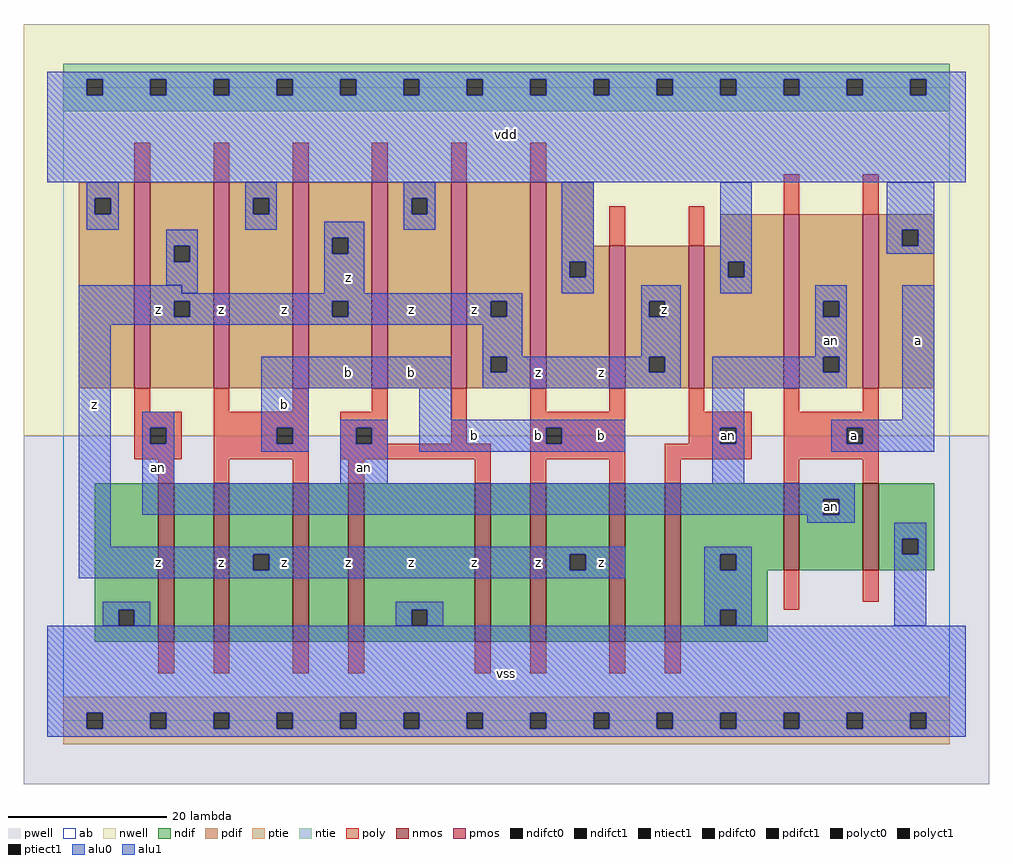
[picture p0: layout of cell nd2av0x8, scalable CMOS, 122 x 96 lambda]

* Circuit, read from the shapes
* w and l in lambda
.subckt nd2av0x8 a an b vdd vss z
M1 n1 an vss vss nfet w=20 l=2
M2 z b n1 vss nfet w=20 l=2
M3 n2 b z vss nfet w=20 l=2
M4 vss an n2 vss nfet w=20 l=2
M5 n3 an vss vss nfet w=20 l=2
M6 z b n3 vss nfet w=20 l=2
M7 n4 b z vss nfet w=20 l=2
M8 vss an n4 vss nfet w=20 l=2
M9 an a vss vss nfet w=11 l=2 m=2
M10 z an vdd vdd pfet w=26 l=2 m=3
M11 vdd b z vdd pfet w=26 l=2 m=3
M12 z b vdd vdd pfet w=18 l=2
M13 vdd an z vdd pfet w=18 l=2
M14 an a vdd vdd pfet w=22 l=2 m=2
.ends

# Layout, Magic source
magic
tech scmos
<< ab >>
rect 0 0 112 80
<< nwell >>
rect -5 36 117 88
<< pwell >>
rect -5 -8 117 36
<< poly >>
rect 9 68 11 73
rect 19 68 21 73
rect 29 68 31 73
rect 39 68 41 73
rect 49 68 51 73
rect 59 68 61 73
rect 69 60 71 65
rect 79 60 81 65
rect 91 64 93 69
rect 101 64 103 69
rect 9 39 11 42
rect 19 39 21 42
rect 29 39 31 42
rect 39 39 41 42
rect 9 37 15 39
rect 9 35 11 37
rect 13 35 15 37
rect 9 33 15 35
rect 19 37 31 39
rect 19 35 27 37
rect 29 35 31 37
rect 19 33 31 35
rect 35 37 41 39
rect 35 35 37 37
rect 39 35 41 37
rect 49 35 51 42
rect 59 39 61 42
rect 69 39 71 42
rect 59 37 71 39
rect 59 35 61 37
rect 63 35 71 37
rect 79 39 81 42
rect 91 39 93 42
rect 101 39 103 42
rect 79 37 87 39
rect 79 35 83 37
rect 85 35 87 37
rect 35 33 54 35
rect 12 30 14 33
rect 19 30 21 33
rect 29 30 31 33
rect 36 30 38 33
rect 52 30 54 33
rect 59 33 71 35
rect 59 30 61 33
rect 69 30 71 33
rect 76 33 87 35
rect 91 37 103 39
rect 91 35 99 37
rect 101 35 103 37
rect 91 33 103 35
rect 76 30 78 33
rect 91 30 93 33
rect 101 30 103 33
rect 91 14 93 19
rect 101 15 103 19
rect 12 6 14 10
rect 19 6 21 10
rect 29 6 31 10
rect 36 6 38 10
rect 52 6 54 10
rect 59 6 61 10
rect 69 6 71 10
rect 76 6 78 10
<< ndif >>
rect 4 14 12 30
rect 4 12 7 14
rect 9 12 12 14
rect 4 10 12 12
rect 14 10 19 30
rect 21 21 29 30
rect 21 19 24 21
rect 26 19 29 21
rect 21 10 29 19
rect 31 10 36 30
rect 38 14 52 30
rect 38 12 44 14
rect 46 12 52 14
rect 38 10 52 12
rect 54 10 59 30
rect 61 21 69 30
rect 61 19 64 21
rect 66 19 69 21
rect 61 10 69 19
rect 71 10 76 30
rect 78 21 91 30
rect 78 19 83 21
rect 85 19 91 21
rect 93 28 101 30
rect 93 26 96 28
rect 98 26 101 28
rect 93 19 101 26
rect 103 23 110 30
rect 103 21 106 23
rect 108 21 110 23
rect 103 19 110 21
rect 78 14 89 19
rect 78 12 83 14
rect 85 12 89 14
rect 78 10 89 12
<< pdif >>
rect 2 66 9 68
rect 2 64 4 66
rect 6 64 9 66
rect 2 42 9 64
rect 11 60 19 68
rect 11 58 14 60
rect 16 58 19 60
rect 11 53 19 58
rect 11 51 14 53
rect 16 51 19 53
rect 11 42 19 51
rect 21 66 29 68
rect 21 64 24 66
rect 26 64 29 66
rect 21 42 29 64
rect 31 61 39 68
rect 31 59 34 61
rect 36 59 39 61
rect 31 53 39 59
rect 31 51 34 53
rect 36 51 39 53
rect 31 42 39 51
rect 41 66 49 68
rect 41 64 44 66
rect 46 64 49 66
rect 41 42 49 64
rect 51 53 59 68
rect 51 51 54 53
rect 56 51 59 53
rect 51 46 59 51
rect 51 44 54 46
rect 56 44 59 46
rect 51 42 59 44
rect 61 60 67 68
rect 83 60 91 64
rect 61 58 69 60
rect 61 56 64 58
rect 66 56 69 58
rect 61 42 69 56
rect 71 53 79 60
rect 71 51 74 53
rect 76 51 79 53
rect 71 46 79 51
rect 71 44 74 46
rect 76 44 79 46
rect 71 42 79 44
rect 81 58 91 60
rect 81 56 84 58
rect 86 56 91 58
rect 81 42 91 56
rect 93 53 101 64
rect 93 51 96 53
rect 98 51 101 53
rect 93 46 101 51
rect 93 44 96 46
rect 98 44 101 46
rect 93 42 101 44
rect 103 62 110 64
rect 103 60 106 62
rect 108 60 110 62
rect 103 42 110 60
<< alu1 >>
rect -2 81 114 82
rect -2 79 3 81
rect 5 79 11 81
rect 13 79 19 81
rect 21 79 27 81
rect 29 79 35 81
rect 37 79 43 81
rect 45 79 51 81
rect 53 79 59 81
rect 61 79 67 81
rect 69 79 75 81
rect 77 79 83 81
rect 85 79 91 81
rect 93 79 99 81
rect 101 79 107 81
rect 109 79 114 81
rect -2 68 114 79
rect 2 54 15 55
rect 33 61 38 63
rect 33 59 34 61
rect 36 59 38 61
rect 33 54 38 59
rect 2 53 58 54
rect 2 51 14 53
rect 16 51 34 53
rect 36 51 54 53
rect 56 51 58 53
rect 2 50 58 51
rect 2 22 6 50
rect 53 46 58 50
rect 73 53 78 55
rect 73 51 74 53
rect 76 51 78 53
rect 73 46 78 51
rect 25 42 49 46
rect 53 44 54 46
rect 56 44 74 46
rect 76 44 78 46
rect 53 42 78 44
rect 25 37 31 42
rect 45 38 49 42
rect 25 35 27 37
rect 29 35 31 37
rect 25 34 31 35
rect 45 37 71 38
rect 45 35 61 37
rect 63 35 71 37
rect 45 34 71 35
rect 106 38 110 55
rect 97 37 110 38
rect 97 35 99 37
rect 101 35 110 37
rect 97 34 110 35
rect 2 21 71 22
rect 2 19 24 21
rect 26 19 64 21
rect 66 19 71 21
rect 2 18 71 19
rect -2 1 114 12
rect -2 -1 3 1
rect 5 -1 11 1
rect 13 -1 19 1
rect 21 -1 27 1
rect 29 -1 35 1
rect 37 -1 43 1
rect 45 -1 51 1
rect 53 -1 59 1
rect 61 -1 67 1
rect 69 -1 75 1
rect 77 -1 83 1
rect 85 -1 91 1
rect 93 -1 99 1
rect 101 -1 107 1
rect 109 -1 114 1
rect -2 -2 114 -1
<< ptie >>
rect 0 1 112 3
rect 0 -1 3 1
rect 5 -1 11 1
rect 13 -1 19 1
rect 21 -1 27 1
rect 29 -1 35 1
rect 37 -1 43 1
rect 45 -1 51 1
rect 53 -1 59 1
rect 61 -1 67 1
rect 69 -1 75 1
rect 77 -1 83 1
rect 85 -1 91 1
rect 93 -1 99 1
rect 101 -1 107 1
rect 109 -1 112 1
rect 0 -3 112 -1
<< ntie >>
rect 0 81 112 83
rect 0 79 3 81
rect 5 79 11 81
rect 13 79 19 81
rect 21 79 27 81
rect 29 79 35 81
rect 37 79 43 81
rect 45 79 51 81
rect 53 79 59 81
rect 61 79 67 81
rect 69 79 75 81
rect 77 79 83 81
rect 85 79 91 81
rect 93 79 99 81
rect 101 79 107 81
rect 109 79 112 81
rect 0 77 112 79
<< nmos >>
rect 12 10 14 30
rect 19 10 21 30
rect 29 10 31 30
rect 36 10 38 30
rect 52 10 54 30
rect 59 10 61 30
rect 69 10 71 30
rect 76 10 78 30
rect 91 19 93 30
rect 101 19 103 30
<< pmos >>
rect 9 42 11 68
rect 19 42 21 68
rect 29 42 31 68
rect 39 42 41 68
rect 49 42 51 68
rect 59 42 61 68
rect 69 42 71 60
rect 79 42 81 60
rect 91 42 93 64
rect 101 42 103 64
<< polyct0 >>
rect 11 35 13 37
rect 37 35 39 37
rect 83 35 85 37
<< polyct1 >>
rect 27 35 29 37
rect 61 35 63 37
rect 99 35 101 37
<< ndifct0 >>
rect 7 12 9 14
rect 44 12 46 14
rect 83 19 85 21
rect 96 26 98 28
rect 106 21 108 23
rect 83 12 85 14
<< ndifct1 >>
rect 24 19 26 21
rect 64 19 66 21
<< ntiect1 >>
rect 3 79 5 81
rect 11 79 13 81
rect 19 79 21 81
rect 27 79 29 81
rect 35 79 37 81
rect 43 79 45 81
rect 51 79 53 81
rect 59 79 61 81
rect 67 79 69 81
rect 75 79 77 81
rect 83 79 85 81
rect 91 79 93 81
rect 99 79 101 81
rect 107 79 109 81
<< ptiect1 >>
rect 3 -1 5 1
rect 11 -1 13 1
rect 19 -1 21 1
rect 27 -1 29 1
rect 35 -1 37 1
rect 43 -1 45 1
rect 51 -1 53 1
rect 59 -1 61 1
rect 67 -1 69 1
rect 75 -1 77 1
rect 83 -1 85 1
rect 91 -1 93 1
rect 99 -1 101 1
rect 107 -1 109 1
<< pdifct0 >>
rect 4 64 6 66
rect 14 58 16 60
rect 24 64 26 66
rect 44 64 46 66
rect 64 56 66 58
rect 84 56 86 58
rect 96 51 98 53
rect 96 44 98 46
rect 106 60 108 62
<< pdifct1 >>
rect 14 51 16 53
rect 34 59 36 61
rect 34 51 36 53
rect 54 51 56 53
rect 54 44 56 46
rect 74 51 76 53
rect 74 44 76 46
<< alu0 >>
rect 3 66 7 68
rect 3 64 4 66
rect 6 64 7 66
rect 3 62 7 64
rect 23 66 27 68
rect 23 64 24 66
rect 26 64 27 66
rect 23 62 27 64
rect 43 66 47 68
rect 43 64 44 66
rect 46 64 47 66
rect 13 60 17 62
rect 13 58 14 60
rect 16 58 17 60
rect 13 55 17 58
rect 15 54 17 55
rect 43 62 47 64
rect 63 58 67 68
rect 63 56 64 58
rect 66 56 67 58
rect 63 54 67 56
rect 83 58 87 68
rect 104 62 110 68
rect 104 60 106 62
rect 108 60 110 62
rect 104 59 110 60
rect 83 56 84 58
rect 86 56 87 58
rect 83 54 87 56
rect 95 53 99 55
rect 95 51 96 53
rect 98 51 99 53
rect 95 46 99 51
rect 82 44 96 46
rect 98 44 99 46
rect 82 42 99 44
rect 10 37 14 39
rect 10 35 11 37
rect 13 35 14 37
rect 10 30 14 35
rect 35 37 41 38
rect 35 35 37 37
rect 39 35 41 37
rect 35 30 41 35
rect 82 37 86 42
rect 82 35 83 37
rect 85 35 86 37
rect 82 30 86 35
rect 10 28 100 30
rect 10 26 96 28
rect 98 26 100 28
rect 94 25 100 26
rect 105 23 109 25
rect 81 21 87 22
rect 81 19 83 21
rect 85 19 87 21
rect 5 14 11 15
rect 5 12 7 14
rect 9 12 11 14
rect 42 14 48 15
rect 42 12 44 14
rect 46 12 48 14
rect 81 14 87 19
rect 81 12 83 14
rect 85 12 87 14
rect 105 21 106 23
rect 108 21 109 23
rect 105 12 109 21
<< labels >>
rlabel alu0 12 32 12 32 6 an
rlabel alu0 38 32 38 32 6 an
rlabel ndifct0 97 27 97 27 6 an
rlabel alu0 97 48 97 48 6 an
rlabel polyct0 84 36 84 36 6 an
rlabel alu1 12 20 12 20 6 z
rlabel alu1 4 40 4 40 6 z
rlabel alu1 12 52 12 52 6 z
rlabel alu1 20 20 20 20 6 z
rlabel alu1 28 20 28 20 6 z
rlabel alu1 36 20 36 20 6 z
rlabel alu1 28 40 28 40 6 b
rlabel alu1 36 44 36 44 6 b
rlabel alu1 28 52 28 52 6 z
rlabel alu1 20 52 20 52 6 z
rlabel alu1 36 56 36 56 6 z
rlabel alu1 56 6 56 6 6 vss
rlabel alu1 44 20 44 20 6 z
rlabel alu1 52 20 52 20 6 z
rlabel alu1 60 20 60 20 6 z
rlabel alu1 44 44 44 44 6 b
rlabel alu1 52 36 52 36 6 b
rlabel alu1 60 36 60 36 6 b
rlabel alu1 60 44 60 44 6 z
rlabel alu1 52 52 52 52 6 z
rlabel alu1 44 52 44 52 6 z
rlabel alu1 56 74 56 74 6 vdd
rlabel alu1 68 20 68 20 6 z
rlabel alu1 68 36 68 36 6 b
rlabel alu1 68 44 68 44 6 z
rlabel alu1 76 52 76 52 6 z
rlabel polyct1 100 36 100 36 6 a
rlabel alu1 108 48 108 48 6 a
<< end >>
